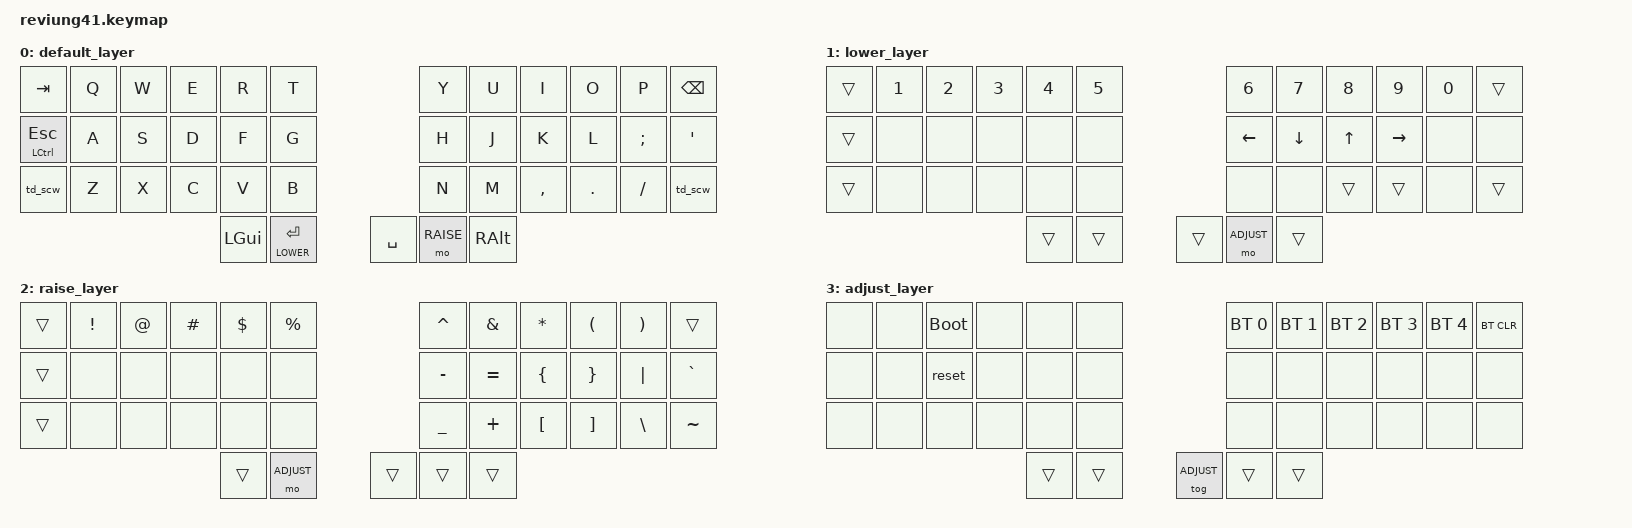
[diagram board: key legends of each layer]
/*
 * Portions Copyright (c) 2020 The ZMK Contributors
 * Portions Copyright (c) 2022 Yung-Jin (Joey) Hu
 *
 * SPDX-License-Identifier: MIT
 */

#include <behaviors.dtsi>
#include <dt-bindings/zmk/keys.h>
#include <dt-bindings/zmk/bt.h>

#define LOWER 1
#define RAISE 2
#define ADJUST 3

/ {
    behaviors {
        td_scw: tap_dance_shift_caps_word {
            compatible = "zmk,behavior-tap-dance";
            label = "TAP_DANCE_SHIFT_CAPS_WORD";
            #binding-cells = <0>;
            tapping-term-ms = <200>;
            bindings = <&kp RSHFT>, <&caps_word>;
        };
        // Useful for Hold-Tap configurations where the hold key is always long
        // and intentional, while the tap key could end up being rolled into the
        // key following the tap.
        ht_tp: hold_tap_tap_preferred {
            compatible = "zmk,behavior-hold-tap";
            label = "HOLD_TAP_TAP_PREFERRED";
            #binding-cells = <2>;
            tapping-term-ms = <150>;
            quick-tap-ms = <0>;
            flavor = "tap-preferred";
            bindings = <&kp>, <&kp>;
        };
    };

    keymap {
        compatible = "zmk,keymap";

        default_layer {
                // -------------------------------------------------------------------------------------------------
                // |     TAB      |  Q  |  W  |  E  |  R  |  T  |     |  Y  |  U  |  I  |  O  |  P  |     BKSP     |
                // | ht:CTRL,ESC  |  A  |  S  |  D  |  F  |  G  |     |  H  |  J  |  K  |  L  |  ;  |      '       |
                // | td:SHFT,CPWD |  Z  |  X  |  C  |  V  |  B  |     |  N  |  M  |  ,  |  .  |  /  | td:SHFT,CPWD |
                //                                  | GUI | LWR | SPC | RSE | ALT |
            bindings = <
                &kp TAB          &kp Q &kp W &kp E &kp R    &kp T                   &kp Y     &kp U    &kp I     &kp O   &kp P    &kp BSPC
                &ht_tp LCTRL ESC &kp A &kp S &kp D &kp F    &kp G                   &kp H     &kp J    &kp K     &kp L   &kp SEMI &kp SQT
                &td_scw          &kp Z &kp X &kp C &kp V    &kp B                   &kp N     &kp M    &kp COMMA &kp DOT &kp FSLH &td_scw
                                                   &kp LGUI &lt LOWER RET &kp SPACE &mo RAISE &kp RALT
            >;
        };

        lower_layer {
                // ------------------------------------------------------------------------------
                // |    |  1  |  2  |  3  |  4  |  5  |     |  6  |  7  |  8  |  9  |  0  |     |
                // |    | XXX | XXX | XXX | XXX | XXX |     | LFT | DWN |  UP | RGT | XXX | XXX |
                // |    | XXX | XXX | XXX | XXX | XXX |     | XXX | XXX |     |     | XXX |     |
                //                        |     |     |     | ADJ |     |
            bindings = <
                &trans &kp N1 &kp N2 &kp N3 &kp N4 &kp N5        &kp N6     &kp N7   &kp N8 &kp N9    &kp N0 &trans
                &trans &none  &none  &none  &none  &none         &kp LEFT   &kp DOWN &kp UP &kp RIGHT &none  &none
                &trans &none  &none  &none  &none  &none         &none      &none    &trans &trans    &none  &trans
                                            &trans &trans &trans &mo ADJUST &trans
            >;
        };

        raise_layer {
                // -------------------------------------------------------------------------------
                // |     |  !  |  @  |  #  |  $  |  %  |     |  ^  |  &  |  *  |  (  |  )  |     |
                // |     | XXX | XXX | XXX | XXX | XXX |     |  -  |  =  |  {  |  }  | "|" |  `  |
                // |     | XXX | XXX | XXX | XXX | XXX |     |  _  |  +  |  [  |  ]  |  \  |  ~  |
                //                         |     | ADJ |     |     |     |
            bindings = <
                &trans &kp EXCL &kp AT &kp HASH &kp DLLR &kp PRCNT         &kp CARET &kp AMPS  &kp STAR &kp LPAR &kp RPAR  &trans
                &trans &none    &none  &none    &none    &none             &kp MINUS &kp EQUAL &kp LBRC &kp RBRC &kp PIPE &kp GRAVE
                &trans &none    &none  &none    &none    &none             &kp UNDER &kp PLUS  &kp LBKT &kp RBKT &kp BSLH &kp TILDE
                                                &trans   &mo ADJUST &trans &trans    &trans
            >;
        };

        adjust_layer {
                // ---------------------------------------------------------------------------------------------------
                // | XXX | XXX | BOOTLOADER | XXX | XXX | XXX |             | BT0 | BT1 | BT2 | BT3 | BT4 | BT_CLR |
                // | XXX | XXX |   RESET    | XXX | XXX | XXX |             | XXX | XXX | XXX | XXX | XXX |  XXX   |
                // | XXX | XXX |    XXX     | XXX | XXX | XXX |             | XXX | XXX | XXX | XXX | XXX |  XXX   |
                //                                |     |     | tog(ADJUST) |     |     |
            bindings = <
                &none &none &bootloader &none &none  &none              &bt BT_SEL 0 &bt BT_SEL 1 &bt BT_SEL 2 &bt BT_SEL 3 &bt BT_SEL 4 &bt BT_CLR
                &none &none &reset      &none &none  &none              &none        &none        &none        &none        &none        &none
                &none &none &none       &none &none  &none              &none        &none        &none        &none        &none        &none
                                              &trans &trans &tog ADJUST &trans       &trans
            >;
        };
    };
};
